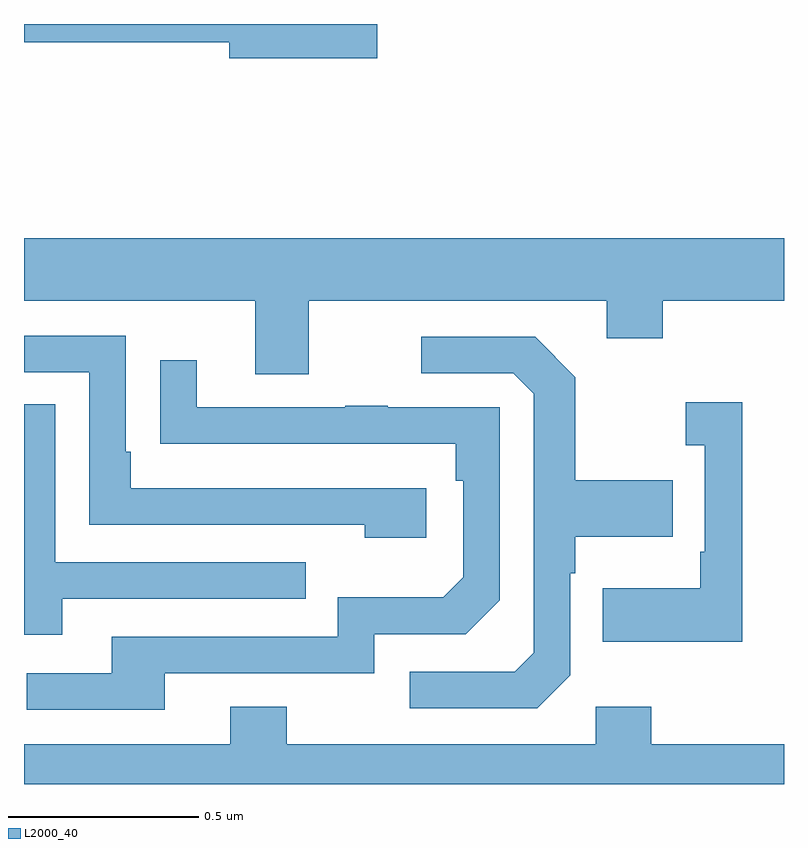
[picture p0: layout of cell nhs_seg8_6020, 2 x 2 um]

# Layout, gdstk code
import gdstk
lib = gdstk.Library(unit=1e-6, precision=1e-09)
def P(c, l, *ps):  # polygons
    for p in ps: c.add(gdstk.Polygon(p, *l))
L2000_40 = (2000, 40)

nhs_seg8_6020 = lib.new_cell('nhs_seg8_6020')
P(nhs_seg8_6020, L2000_40, [(191.929,1111.9),(191,1111.9),(191,1111.852),(191.54,1111.852),(191.54,1111.81),(191.929,1111.81)],
  [(191.749,1111.172),(192.533,1111.172),(192.533,1111.073),(192.681,1111.073),(192.681,1111.172),(193,1111.172),(193,1111.336),(191,1111.336),(191,1111.172),(191.609,1111.172),(191.609,1110.978),(191.749,1110.978)],
  [(192.058,1110.678),(191.281,1110.678),(191.281,1110.775),(191.268,1110.775),(191.268,1111.08),(191,1111.08),(191,1110.984),(191.172,1110.984),(191.172,1110.582),(191.897,1110.582),(191.897,1110.548),(192.058,1110.548)],
  [(192.438,1110.186),(192.438,1110.455),(192.451,1110.455),(192.451,1110.551),(192.707,1110.551),(192.707,1110.699),(192.451,1110.699),(192.451,1110.971),(192.345,1111.077),(192.045,1111.077),(192.045,1110.981),(192.288,1110.981),(192.342,1110.927),(192.342,1110.246),(192.291,1110.195),(192.015,1110.195),(192.015,1110.099),(192.351,1110.099)],
  [(191.371,1110.192),(191.922,1110.192),(191.922,1110.294),(192.162,1110.294),(192.252,1110.384),(192.252,1110.891),(191.957,1110.891),(191.957,1110.896),(191.845,1110.896),(191.845,1110.891),(191.455,1110.891),(191.455,1111.015),(191.359,1111.015),(191.359,1110.796),(191.461,1110.796),(191.461,1110.795),(192.136,1110.795),(192.136,1110.698),(192.156,1110.698),(192.156,1110.444),(192.103,1110.391),(191.826,1110.391),(191.826,1110.288),(191.231,1110.288),(191.231,1110.192),(191.007,1110.192),(191.007,1110.096),(191.371,1110.096)],
  [(192.89,1110.904),(192.741,1110.904),(192.741,1110.791),(192.792,1110.791),(192.792,1110.511),(192.78,1110.511),(192.78,1110.415),(192.523,1110.415),(192.523,1110.275),(192.89,1110.275)],
  [(191.101,1110.387),(191.741,1110.387),(191.741,1110.483),(191.082,1110.483),(191.082,1110.899),(191,1110.899),(191,1110.293),(191.101,1110.293)],
  [(193,1110.004),(192.651,1110.004),(192.651,1110.103),(192.504,1110.103),(192.504,1110.004),(191.691,1110.004),(191.691,1110.103),(191.543,1110.103),(191.543,1110.004),(191,1110.004),(191,1109.9),(193,1109.9)])

lib.write_gds('nhs_seg8_6020.gds')
